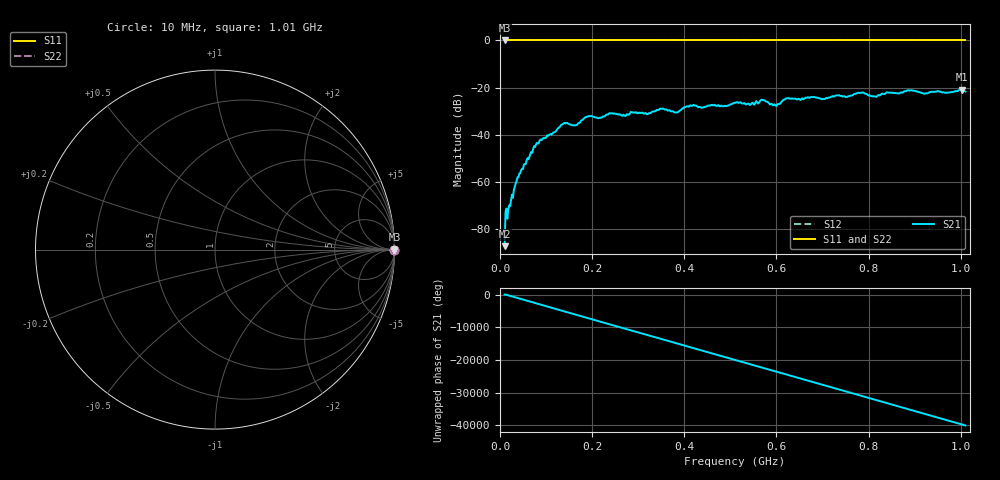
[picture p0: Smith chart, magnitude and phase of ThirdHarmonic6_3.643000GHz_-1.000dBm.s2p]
! 8/17/2025 12:14:52 PM
! C:\ANRITSUVNA\TEMP\TEMP.S2P
! CHANNEL.1
! TR.MEASUREMENT
! RAW.DATA
! RF.CORRECTION.OFF
! AVERAGING.OFF
! IF.BANDWIDTH: 5KHZ
! SWEEPTYPE:  FREQ.SWEEP(Linear)
! Reference Plane Port Info
! PORT:  PORT1  PORT2
! DISTANCE:  0  m  0  m
! TIME:  0  s  0  s
! PHASE.OFFSET:  0  deg.  0  deg.
! LOSS:  0  dB  0  dB
! REF.LOSS:  0  dB  0  dB
! REF.FREQ:  0  Hz  0  Hz
! Power Info
! POWER:  -20  dBm  -20  dBm
! EFF.POWER:  -20  dBm  -20  dBm
! SOURCE.ATTEN:  0  dB  0  dB
! TEST.ATTEN:  0  dB  0  dB
# GHZ S RI R 50.0
! FREQ.GHZ  S11RE  S11IM  S21RE  S21IM  S12RE  S12IM  S22RE  S22IM
!; PortSelection: Port_12
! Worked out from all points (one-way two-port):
!   501 points, 10 MHz to 1.01 GHz, reference 50 ohm
!   highest |S21| = -20.91 dB at 1.002 GHz (marker M1); lowest = -87.4 dB at 10 MHz (marker M2)
!   lowest |S11| = 0.0 dB at 10 MHz (marker M3)
!   |S11| at or under -10 dB: nowhere
!   |S22| runs from 0.0 to 0.0 dB; largest |S21 - S12| = 1.1
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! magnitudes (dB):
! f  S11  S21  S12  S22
! 10 MHz  0.0  -87.4  0.0  0.0
! 38 MHz  0.0  -58.2  0.0  0.0
! 76 MHz  0.0  -45.3  0.0  0.0
! 136 MHz  0.0  -35.6  0.0  0.0
! 164 MHz  0.0  -36.1  0.0  0.0
! 178 MHz  0.0  -33.8  0.0  0.0
! 192 MHz  0.0  -32.2  0.0  0.0
! 322 MHz  0.0  -31.0  0.0  0.0
! 344 MHz  0.0  -29.5  0.0  0.0
! 382 MHz  0.0  -30.6  0.0  0.0
! 416 MHz  0.0  -27.9  0.0  0.0
! 510 MHz  0.0  -26.5  0.0  0.0
! 570 MHz  0.0  -25.2  0.0  0.0
! 596 MHz  0.0  -27.1  0.0  0.0
! 622 MHz  0.0  -24.6  0.0  0.0
! 678 MHz  0.0  -24.1  0.0  0.0
! 702 MHz  0.0  -24.9  0.0  0.0
! 784 MHz  0.0  -22.2  0.0  0.0
! 814 MHz  0.0  -23.8  0.0  0.0
! 844 MHz  0.0  -22.2  0.0  0.0
! 1.002 GHz  0.0  -20.9  0.0  0.0
! 1.01 GHz  0.0  -21.7  0.0  0.0
